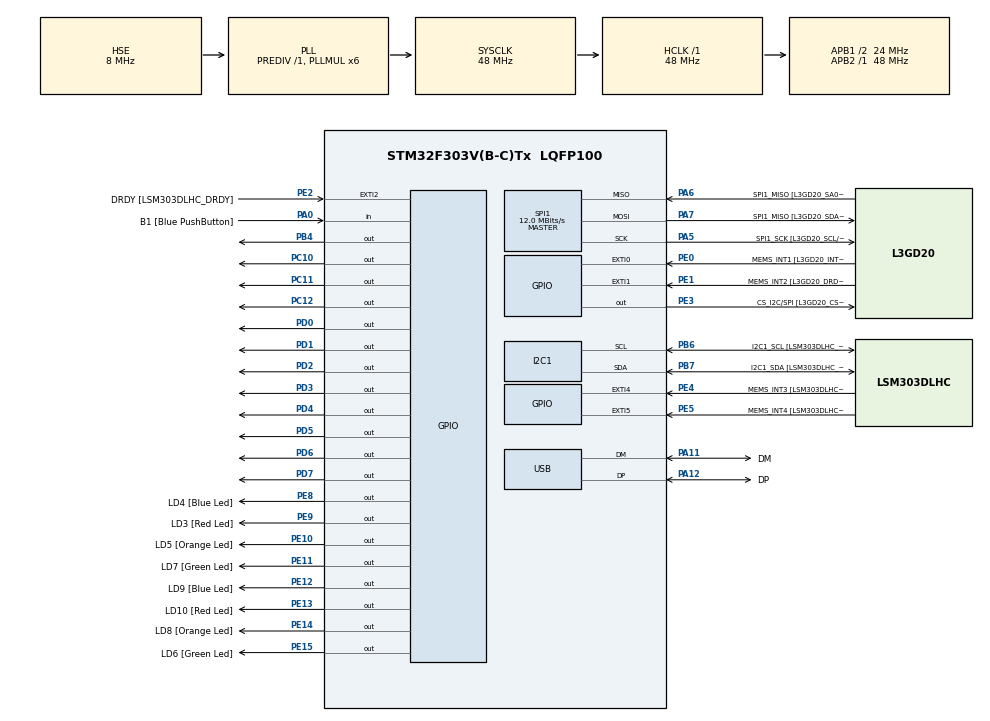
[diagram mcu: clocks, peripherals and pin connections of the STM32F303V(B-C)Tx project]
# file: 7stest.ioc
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I2C1.Timing=0x2000090E
I2C1.Timing-I2C=0x2000090E
Mcu.Family=STM32F3
Mcu.Name=STM32F303V(B-C)Tx
Mcu.Package=LQFP100
NVIC.PriorityGroup=NVIC_PRIORITYGROUP_0
PA0.GPIO_Label=B1 [Blue PushButton]
PA0.Signal=GPIO_Input
PA11.GPIO_Label=DM
PA11.Mode=Device
PA11.Signal=USB_DM
PA12.GPIO_Label=DP
PA12.Mode=Device
PA12.Signal=USB_DP
PA13.GPIO_Label=SWDIO
PA13.Mode=Serial_Wire
PA13.Signal=SYS_JTMS-SWDIO
PA14.GPIO_Label=SWCLK
PA14.Mode=Serial_Wire
PA14.Signal=SYS_JTCK-SWCLK
PA5.GPIO_Label=SPI1_SCK [L3GD20_SCL/SPC]
PA5.Mode=Full_Duplex_Master
PA5.Signal=SPI1_SCK
PA6.GPIO_Label=SPI1_MISO [L3GD20_SA0/SDO]
PA6.Mode=Full_Duplex_Master
PA6.Signal=SPI1_MISO
PA7.GPIO_Label=SPI1_MISO [L3GD20_SDA/SDI/SDO]
PA7.Mode=Full_Duplex_Master
PA7.Signal=SPI1_MOSI
PB3.GPIO_Label=SWO
PB3.Signal=SYS_JTDO-TRACESWO
PB4.Signal=GPIO_Output
PB6.GPIO_Label=I2C1_SCL [LSM303DLHC_SCL]
PB6.Mode=I2C
PB6.Signal=I2C1_SCL
PB7.GPIO_Label=I2C1_SDA [LSM303DLHC_SDA]
PB7.Mode=I2C
PB7.Signal=I2C1_SDA
PC10.Signal=GPIO_Output
PC11.Signal=GPIO_Output
PC12.Signal=GPIO_Output
PC14-OSC32_IN.GPIO_Label=OSC32_IN
PC14-OSC32_IN.Signal=RCC_OSC32_IN
PC15-OSC32_OUT.GPIO_Label=OSC32_OUT
PC15-OSC32_OUT.Signal=RCC_OSC32_OUT
PD0.Signal=GPIO_Output
PD1.Signal=GPIO_Output
PD2.Signal=GPIO_Output
PD3.Signal=GPIO_Output
PD4.Signal=GPIO_Output
PD5.Signal=GPIO_Output
PD6.Signal=GPIO_Output
PD7.Signal=GPIO_Output
PE0.GPIO_Label=MEMS_INT1 [L3GD20_INT1]
PE0.GPIO_ModeDefaultEXTI=GPIO_MODE_EVT_RISING
PE0.Signal=GPXTI0
PE1.GPIO_Label=MEMS_INT2 [L3GD20_DRDY/INT2]
PE1.GPIO_ModeDefaultEXTI=GPIO_MODE_EVT_RISING
PE1.Signal=GPXTI1
PE10.GPIO_Label=LD5 [Orange Led]
PE10.Signal=GPIO_Output
PE11.GPIO_Label=LD7 [Green Led]
PE11.Signal=GPIO_Output
PE12.GPIO_Label=LD9 [Blue Led]
PE12.Signal=GPIO_Output
PE13.GPIO_Label=LD10 [Red Led]
PE13.Signal=GPIO_Output
PE14.GPIO_Label=LD8 [Orange Led]
PE14.Signal=GPIO_Output
PE15.GPIO_Label=LD6 [Green Led]
PE15.Signal=GPIO_Output
PE2.GPIO_Label=DRDY [LSM303DLHC_DRDY]
PE2.GPIO_ModeDefaultEXTI=GPIO_MODE_EVT_RISING
PE2.Signal=GPXTI2
PE3.GPIO_Label=CS_I2C/SPI [L3GD20_CS_I2C/SPI]
PE3.Signal=GPIO_Output
PE4.GPIO_Label=MEMS_INT3 [LSM303DLHC_INT1]
PE4.GPIO_ModeDefaultEXTI=GPIO_MODE_EVT_RISING
PE4.Signal=GPXTI4
PE5.GPIO_Label=MEMS_INT4 [LSM303DLHC_INT2]
PE5.GPIO_ModeDefaultEXTI=GPIO_MODE_EVT_RISING
PE5.Signal=GPXTI5
PE8.GPIO_Label=LD4 [Blue Led]
PE8.Signal=GPIO_Output
PE9.GPIO_Label=LD3 [Red Led]
PE9.Signal=GPIO_Output
PF0-OSC_IN.GPIO_Label=OSC_IN
PF0-OSC_IN.Mode=HSE-External-Clock-Source
PF0-OSC_IN.Signal=RCC_OSC_IN
PF1-OSC_OUT.GPIO_Label=OSC_OUT
PF1-OSC_OUT.Signal=RCC_OSC_OUT
ProjectManager.HeapSize=0x200
ProjectManager.StackSize=0x400
ProjectManager.TargetToolchain=MDK-ARM V5
RCC.AHBFreq_Value=48000000
RCC.APB1CLKDivider=RCC_HCLK_DIV2
RCC.APB1Freq_Value=24000000
RCC.APB1TimFreq_Value=48000000
RCC.APB2Freq_Value=48000000
RCC.APB2TimFreq_Value=48000000
RCC.CortexFreq_Value=48000000
RCC.HCLKFreq_Value=48000000
RCC.HSE_VALUE=8000000
RCC.HSI_VALUE=8000000
RCC.LSE_VALUE=32768
RCC.PLLMUL=RCC_PLL_MUL6
RCC.SYSCLKFreq_VALUE=48000000
RCC.SYSCLKSourceVirtual=RCC_SYSCLKSOURCE_PLLCLK
RCC.USBFreq_Value=48000000
SPI1.BaudRatePrescaler=SPI_BAUDRATEPRESCALER_4
SPI1.BaudRatePrescaler-Full_Duplex_Master=SPI_BAUDRATEPRESCALER_2
SPI1.CalculateBaudRate=12.0 MBits/s
SPI1.CalculateBaudRate-Full_Duplex_Master=24.0 MBits/s
SPI1.Direction=SPI_DIRECTION_2LINES
SPI1.Mode=SPI_MODE_MASTER
SPI1.Mode-Full_Duplex_Master=SPI_MODE_MASTER
SPI1.VirtualType=VM_MASTER
board=STM32F3DISCOVERY

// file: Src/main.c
/**
  ******************************************************************************
  * @file           : main.c
  * @brief          : Main program body
  ******************************************************************************
  ** This notice applies to any and all portions of this file
  * that are not between comment pairs USER CODE BEGIN and
  * USER CODE END. Other portions of this file, whether
  * inserted by the user or by software development tools
  * are owned by their respective copyright owners.
  *
  * COPYRIGHT(c) 2020 STMicroelectronics
  *
  * Redistribution and use in source and binary forms, with or without modification,
  * are permitted provided that the following conditions are met:
  *   1. Redistributions of source code must retain the above copyright notice,
  *      this list of conditions and the following disclaimer.
  *   2. Redistributions in binary form must reproduce the above copyright notice,
  *      this list of conditions and the following disclaimer in the documentation
  *      and/or other materials provided with the distribution.
  *   3. Neither the name of STMicroelectronics nor the names of its contributors
  *      may be used to endorse or promote products derived from this software
  *      without specific prior written permission.
  *
  * THIS SOFTWARE IS PROVIDED BY THE COPYRIGHT HOLDERS AND CONTRIBUTORS "AS IS"
  * AND ANY EXPRESS OR IMPLIED WARRANTIES, INCLUDING, BUT NOT LIMITED TO, THE
  * IMPLIED WARRANTIES OF MERCHANTABILITY AND FITNESS FOR A PARTICULAR PURPOSE ARE
  * DISCLAIMED. IN NO EVENT SHALL THE COPYRIGHT HOLDER OR CONTRIBUTORS BE LIABLE
  * FOR ANY DIRECT, INDIRECT, INCIDENTAL, SPECIAL, EXEMPLARY, OR CONSEQUENTIAL
  * DAMAGES (INCLUDING, BUT NOT LIMITED TO, PROCUREMENT OF SUBSTITUTE GOODS OR
  * SERVICES; LOSS OF USE, DATA, OR PROFITS; OR BUSINESS INTERRUPTION) HOWEVER
  * CAUSED AND ON ANY THEORY OF LIABILITY, WHETHER IN CONTRACT, STRICT LIABILITY,
  * OR TORT (INCLUDING NEGLIGENCE OR OTHERWISE) ARISING IN ANY WAY OUT OF THE USE
  * OF THIS SOFTWARE, EVEN IF ADVISED OF THE POSSIBILITY OF SUCH DAMAGE.
  *
  ******************************************************************************
  */
#include "main.h"
#include "stm32f3xx_hal.h"

I2C_HandleTypeDef hi2c1;

SPI_HandleTypeDef hspi1;

PCD_HandleTypeDef hpcd_USB_FS;

/* USER CODE BEGIN PV */
/* Private variables ---------------------------------------------------------*/

/* USER CODE END PV */

void SystemClock_Config(void);
static void MX_GPIO_Init(void);
static void MX_I2C1_Init(void);
static void MX_SPI1_Init(void);
static void MX_USB_PCD_Init(void);

/* USER CODE BEGIN PFP */
/* Private function prototypes -----------------------------------------------*/

/* USER CODE END PFP */

int main(void)
{

  /* MCU Configuration----------------------------------------------------------*/

  /* Reset of all peripherals, Initializes the Flash interface and the Systick. */
  HAL_Init();

  /* Configure the system clock */
  SystemClock_Config();

  /* Initialize all configured peripherals */
  MX_GPIO_Init();
  MX_I2C1_Init();
  MX_SPI1_Init();
  MX_USB_PCD_Init();

  /* Infinite loop */
  while (1)
  {

  /* USER CODE BEGIN 3 */
		HAL_GPIO_WritePin(GPIOC,GPIO_PIN_11,1);
		HAL_GPIO_WritePin(GPIOC,GPIO_PIN_12,1);
		HAL_GPIO_WritePin(GPIOD,GPIO_PIN_0,1);
		HAL_GPIO_WritePin(GPIOD,GPIO_PIN_1|GPIO_PIN_2|GPIO_PIN_3|GPIO_PIN_4|GPIO_PIN_5|GPIO_PIN_7,0);
		HAL_GPIO_WritePin(GPIOB,GPIO_PIN_4,0);

    HAL_GPIO_WritePin(GPIOC,GPIO_PIN_10,0);

		HAL_GPIO_WritePin(GPIOD,GPIO_PIN_1|GPIO_PIN_3|GPIO_PIN_4|GPIO_PIN_7,1);
		HAL_GPIO_WritePin(GPIOB,GPIO_PIN_4,1);

		HAL_Delay(3);

		HAL_GPIO_WritePin(GPIOC,GPIO_PIN_12,1);
		HAL_GPIO_WritePin(GPIOD,GPIO_PIN_0,1);
		HAL_GPIO_WritePin(GPIOC,GPIO_PIN_10,1);
		HAL_GPIO_WritePin(GPIOD,GPIO_PIN_1|GPIO_PIN_2|GPIO_PIN_3|GPIO_PIN_4|GPIO_PIN_5|GPIO_PIN_7,0);
		HAL_GPIO_WritePin(GPIOB,GPIO_PIN_4,0);

		HAL_GPIO_WritePin(GPIOC,GPIO_PIN_11,0);

		HAL_GPIO_WritePin(GPIOD,GPIO_PIN_1|GPIO_PIN_3|GPIO_PIN_4|GPIO_PIN_7,1);
		HAL_GPIO_WritePin(GPIOB,GPIO_PIN_4,1);

		HAL_Delay(3);

		HAL_GPIO_WritePin(GPIOD,GPIO_PIN_0,1);
		HAL_GPIO_WritePin(GPIOC,GPIO_PIN_10,1);
		HAL_GPIO_WritePin(GPIOC,GPIO_PIN_11,1);
		HAL_GPIO_WritePin(GPIOD,GPIO_PIN_1|GPIO_PIN_2|GPIO_PIN_3|GPIO_PIN_4|GPIO_PIN_5|GPIO_PIN_7,0);
		HAL_GPIO_WritePin(GPIOB,GPIO_PIN_4,0);

		HAL_GPIO_WritePin(GPIOC,GPIO_PIN_12,0);

		HAL_GPIO_WritePin(GPIOD,GPIO_PIN_2|GPIO_PIN_3|GPIO_PIN_5,1);
		HAL_GPIO_WritePin(GPIOD,GPIO_PIN_4,1);

		HAL_Delay(3);

		HAL_GPIO_WritePin(GPIOC,GPIO_PIN_11,1);
		HAL_GPIO_WritePin(GPIOC,GPIO_PIN_10,1);
		HAL_GPIO_WritePin(GPIOC,GPIO_PIN_12,1);
		HAL_GPIO_WritePin(GPIOD,GPIO_PIN_1|GPIO_PIN_2|GPIO_PIN_3|GPIO_PIN_4|GPIO_PIN_5|GPIO_PIN_7,0);
		HAL_GPIO_WritePin(GPIOB,GPIO_PIN_4,0);

		HAL_GPIO_WritePin(GPIOD,GPIO_PIN_0,0);

		HAL_GPIO_WritePin(GPIOD,GPIO_PIN_2,1);
		HAL_GPIO_WritePin(GPIOB,GPIO_PIN_4,1);

		HAL_Delay(3);
  }
  /* USER CODE END 3 */

}

void SystemClock_Config(void)
{

  RCC_OscInitTypeDef RCC_OscInitStruct;
  RCC_ClkInitTypeDef RCC_ClkInitStruct;
  RCC_PeriphCLKInitTypeDef PeriphClkInit;

    /**Initializes the CPU, AHB and APB busses clocks
    */
  RCC_OscInitStruct.OscillatorType = RCC_OSCILLATORTYPE_HSI|RCC_OSCILLATORTYPE_HSE;
  RCC_OscInitStruct.HSEState = RCC_HSE_BYPASS;
  RCC_OscInitStruct.HSEPredivValue = RCC_HSE_PREDIV_DIV1;
  RCC_OscInitStruct.HSIState = RCC_HSI_ON;
  RCC_OscInitStruct.HSICalibrationValue = 16;
  RCC_OscInitStruct.PLL.PLLState = RCC_PLL_ON;
  RCC_OscInitStruct.PLL.PLLSource = RCC_PLLSOURCE_HSE;
  RCC_OscInitStruct.PLL.PLLMUL = RCC_PLL_MUL6;
  if (HAL_RCC_OscConfig(&RCC_OscInitStruct) != HAL_OK)
  {
    _Error_Handler(__FILE__, __LINE__);
  }

    /**Initializes the CPU, AHB and APB busses clocks
    */
  RCC_ClkInitStruct.ClockType = RCC_CLOCKTYPE_HCLK|RCC_CLOCKTYPE_SYSCLK
                              |RCC_CLOCKTYPE_PCLK1|RCC_CLOCKTYPE_PCLK2;
  RCC_ClkInitStruct.SYSCLKSource = RCC_SYSCLKSOURCE_PLLCLK;
  RCC_ClkInitStruct.AHBCLKDivider = RCC_SYSCLK_DIV1;
  RCC_ClkInitStruct.APB1CLKDivider = RCC_HCLK_DIV2;
  RCC_ClkInitStruct.APB2CLKDivider = RCC_HCLK_DIV1;

  if (HAL_RCC_ClockConfig(&RCC_ClkInitStruct, FLASH_LATENCY_1) != HAL_OK)
  {
    _Error_Handler(__FILE__, __LINE__);
  }

  PeriphClkInit.PeriphClockSelection = RCC_PERIPHCLK_USB|RCC_PERIPHCLK_I2C1;
  PeriphClkInit.I2c1ClockSelection = RCC_I2C1CLKSOURCE_HSI;
  PeriphClkInit.USBClockSelection = RCC_USBCLKSOURCE_PLL;
  if (HAL_RCCEx_PeriphCLKConfig(&PeriphClkInit) != HAL_OK)
  {
    _Error_Handler(__FILE__, __LINE__);
  }

    /**Configure the Systick interrupt time
    */
  HAL_SYSTICK_Config(HAL_RCC_GetHCLKFreq()/1000);

    /**Configure the Systick
    */
  HAL_SYSTICK_CLKSourceConfig(SYSTICK_CLKSOURCE_HCLK);

  /* SysTick_IRQn interrupt configuration */
  HAL_NVIC_SetPriority(SysTick_IRQn, 0, 0);
}

/* I2C1 init function */
static void MX_I2C1_Init(void)
{

  hi2c1.Instance = I2C1;
  hi2c1.Init.Timing = 0x2000090E;
  hi2c1.Init.OwnAddress1 = 0;
  hi2c1.Init.AddressingMode = I2C_ADDRESSINGMODE_7BIT;
  hi2c1.Init.DualAddressMode = I2C_DUALADDRESS_DISABLE;
  hi2c1.Init.OwnAddress2 = 0;
  hi2c1.Init.OwnAddress2Masks = I2C_OA2_NOMASK;
  hi2c1.Init.GeneralCallMode = I2C_GENERALCALL_DISABLE;
  hi2c1.Init.NoStretchMode = I2C_NOSTRETCH_DISABLE;
  if (HAL_I2C_Init(&hi2c1) != HAL_OK)
  {
    _Error_Handler(__FILE__, __LINE__);
  }

    /**Configure Analogue filter
    */
  if (HAL_I2CEx_ConfigAnalogFilter(&hi2c1, I2C_ANALOGFILTER_ENABLE) != HAL_OK)
  {
    _Error_Handler(__FILE__, __LINE__);
  }

    /**Configure Digital filter
    */
  if (HAL_I2CEx_ConfigDigitalFilter(&hi2c1, 0) != HAL_OK)
  {
    _Error_Handler(__FILE__, __LINE__);
  }

}

/* SPI1 init function */
static void MX_SPI1_Init(void)
{

  /* SPI1 parameter configuration*/
  hspi1.Instance = SPI1;
  hspi1.Init.Mode = SPI_MODE_MASTER;
  hspi1.Init.Direction = SPI_DIRECTION_2LINES;
  hspi1.Init.DataSize = SPI_DATASIZE_4BIT;
  hspi1.Init.CLKPolarity = SPI_POLARITY_LOW;
  hspi1.Init.CLKPhase = SPI_PHASE_1EDGE;
  hspi1.Init.NSS = SPI_NSS_SOFT;
  hspi1.Init.BaudRatePrescaler = SPI_BAUDRATEPRESCALER_4;
  hspi1.Init.FirstBit = SPI_FIRSTBIT_MSB;
  hspi1.Init.TIMode = SPI_TIMODE_DISABLE;
  hspi1.Init.CRCCalculation = SPI_CRCCALCULATION_DISABLE;
  hspi1.Init.CRCPolynomial = 7;
  hspi1.Init.CRCLength = SPI_CRC_LENGTH_DATASIZE;
  hspi1.Init.NSSPMode = SPI_NSS_PULSE_ENABLE;
  if (HAL_SPI_Init(&hspi1) != HAL_OK)
  {
    _Error_Handler(__FILE__, __LINE__);
  }

}

/* USB init function */
static void MX_USB_PCD_Init(void)
{

  hpcd_USB_FS.Instance = USB;
  hpcd_USB_FS.Init.dev_endpoints = 8;
  hpcd_USB_FS.Init.speed = PCD_SPEED_FULL;
  hpcd_USB_FS.Init.ep0_mps = DEP0CTL_MPS_64;
  hpcd_USB_FS.Init.phy_itface = PCD_PHY_EMBEDDED;
  hpcd_USB_FS.Init.low_power_enable = DISABLE;
  hpcd_USB_FS.Init.battery_charging_enable = DISABLE;
  if (HAL_PCD_Init(&hpcd_USB_FS) != HAL_OK)
  {
    _Error_Handler(__FILE__, __LINE__);
  }

}

/** Configure pins as
        * Analog
        * Input
        * Output
        * EVENT_OUT
        * EXTI
        * Free pins are configured automatically as Analog (this feature is enabled through
        * the Code Generation settings)
*/
static void MX_GPIO_Init(void)
{

  GPIO_InitTypeDef GPIO_InitStruct;

  /* GPIO Ports Clock Enable */
  __HAL_RCC_GPIOE_CLK_ENABLE();
  __HAL_RCC_GPIOC_CLK_ENABLE();
  __HAL_RCC_GPIOF_CLK_ENABLE();
  __HAL_RCC_GPIOA_CLK_ENABLE();
  __HAL_RCC_GPIOB_CLK_ENABLE();
  __HAL_RCC_GPIOD_CLK_ENABLE();

  /*Configure GPIO pin Output Level */
  HAL_GPIO_WritePin(GPIOE, CS_I2C_SPI_Pin|LD4_Pin|LD3_Pin|LD5_Pin
                          |LD7_Pin|LD9_Pin|LD10_Pin|LD8_Pin
                          |LD6_Pin, GPIO_PIN_RESET);

  /*Configure GPIO pin Output Level */
  HAL_GPIO_WritePin(GPIOC, GPIO_PIN_10|GPIO_PIN_11|GPIO_PIN_12, GPIO_PIN_RESET);

  /*Configure GPIO pin Output Level */
  HAL_GPIO_WritePin(GPIOD, GPIO_PIN_0|GPIO_PIN_1|GPIO_PIN_2|GPIO_PIN_3
                          |GPIO_PIN_4|GPIO_PIN_5|GPIO_PIN_6|GPIO_PIN_7, GPIO_PIN_RESET);

  /*Configure GPIO pin Output Level */
  HAL_GPIO_WritePin(GPIOB, GPIO_PIN_4, GPIO_PIN_RESET);

  /*Configure GPIO pins : DRDY_Pin MEMS_INT3_Pin MEMS_INT4_Pin MEMS_INT1_Pin
                           MEMS_INT2_Pin */
  GPIO_InitStruct.Pin = DRDY_Pin|MEMS_INT3_Pin|MEMS_INT4_Pin|MEMS_INT1_Pin
                          |MEMS_INT2_Pin;
  GPIO_InitStruct.Mode = GPIO_MODE_EVT_RISING;
  GPIO_InitStruct.Pull = GPIO_NOPULL;
  HAL_GPIO_Init(GPIOE, &GPIO_InitStruct);

  /*Configure GPIO pins : CS_I2C_SPI_Pin LD4_Pin LD3_Pin LD5_Pin
                           LD7_Pin LD9_Pin LD10_Pin LD8_Pin
                           LD6_Pin */
  GPIO_InitStruct.Pin = CS_I2C_SPI_Pin|LD4_Pin|LD3_Pin|LD5_Pin
                          |LD7_Pin|LD9_Pin|LD10_Pin|LD8_Pin
                          |LD6_Pin;
  GPIO_InitStruct.Mode = GPIO_MODE_OUTPUT_PP;
  GPIO_InitStruct.Pull = GPIO_NOPULL;
  GPIO_InitStruct.Speed = GPIO_SPEED_FREQ_LOW;
  HAL_GPIO_Init(GPIOE, &GPIO_InitStruct);

  /*Configure GPIO pins : PE6 PE7 */
  GPIO_InitStruct.Pin = GPIO_PIN_6|GPIO_PIN_7;
  GPIO_InitStruct.Mode = GPIO_MODE_ANALOG;
  GPIO_InitStruct.Pull = GPIO_NOPULL;
  HAL_GPIO_Init(GPIOE, &GPIO_InitStruct);

  /*Configure GPIO pins : PC13 PC0 PC1 PC2
                           PC3 PC4 PC5 PC6
                           PC7 PC8 PC9 */
  GPIO_InitStruct.Pin = GPIO_PIN_13|GPIO_PIN_0|GPIO_PIN_1|GPIO_PIN_2
                          |GPIO_PIN_3|GPIO_PIN_4|GPIO_PIN_5|GPIO_PIN_6
                          |GPIO_PIN_7|GPIO_PIN_8|GPIO_PIN_9;
  GPIO_InitStruct.Mode = GPIO_MODE_ANALOG;
  GPIO_InitStruct.Pull = GPIO_NOPULL;
  HAL_GPIO_Init(GPIOC, &GPIO_InitStruct);

  /*Configure GPIO pins : PF9 PF10 PF2 PF4
                           PF6 */
  GPIO_InitStruct.Pin = GPIO_PIN_9|GPIO_PIN_10|GPIO_PIN_2|GPIO_PIN_4
                          |GPIO_PIN_6;
  GPIO_InitStruct.Mode = GPIO_MODE_ANALOG;
  GPIO_InitStruct.Pull = GPIO_NOPULL;
  HAL_GPIO_Init(GPIOF, &GPIO_InitStruct);

  /*Configure GPIO pin : B1_Pin */
  GPIO_InitStruct.Pin = B1_Pin;
  GPIO_InitStruct.Mode = GPIO_MODE_INPUT;
  GPIO_InitStruct.Pull = GPIO_NOPULL;
  HAL_GPIO_Init(B1_GPIO_Port, &GPIO_InitStruct);

  /*Configure GPIO pins : PA1 PA2 PA3 PA4
                           PA8 PA9 PA10 PA15 */
  GPIO_InitStruct.Pin = GPIO_PIN_1|GPIO_PIN_2|GPIO_PIN_3|GPIO_PIN_4
                          |GPIO_PIN_8|GPIO_PIN_9|GPIO_PIN_10|GPIO_PIN_15;
  GPIO_InitStruct.Mode = GPIO_MODE_ANALOG;
  GPIO_InitStruct.Pull = GPIO_NOPULL;
  HAL_GPIO_Init(GPIOA, &GPIO_InitStruct);

  /*Configure GPIO pins : PB0 PB1 PB2 PB10
                           PB11 PB12 PB13 PB14
                           PB15 PB5 PB8 PB9 */
  GPIO_InitStruct.Pin = GPIO_PIN_0|GPIO_PIN_1|GPIO_PIN_2|GPIO_PIN_10
                          |GPIO_PIN_11|GPIO_PIN_12|GPIO_PIN_13|GPIO_PIN_14
                          |GPIO_PIN_15|GPIO_PIN_5|GPIO_PIN_8|GPIO_PIN_9;
  GPIO_InitStruct.Mode = GPIO_MODE_ANALOG;
  GPIO_InitStruct.Pull = GPIO_NOPULL;
  HAL_GPIO_Init(GPIOB, &GPIO_InitStruct);

  /*Configure GPIO pins : PD8 PD9 PD10 PD11
                           PD12 PD13 PD14 PD15 */
  GPIO_InitStruct.Pin = GPIO_PIN_8|GPIO_PIN_9|GPIO_PIN_10|GPIO_PIN_11
                          |GPIO_PIN_12|GPIO_PIN_13|GPIO_PIN_14|GPIO_PIN_15;
  GPIO_InitStruct.Mode = GPIO_MODE_ANALOG;
  GPIO_InitStruct.Pull = GPIO_NOPULL;
  HAL_GPIO_Init(GPIOD, &GPIO_InitStruct);

  /*Configure GPIO pins : PC10 PC11 PC12 */
  GPIO_InitStruct.Pin = GPIO_PIN_10|GPIO_PIN_11|GPIO_PIN_12;
  GPIO_InitStruct.Mode = GPIO_MODE_OUTPUT_PP;
  GPIO_InitStruct.Pull = GPIO_NOPULL;
  GPIO_InitStruct.Speed = GPIO_SPEED_FREQ_LOW;
  HAL_GPIO_Init(GPIOC, &GPIO_InitStruct);

  /*Configure GPIO pins : PD0 PD1 PD2 PD3
                           PD4 PD5 PD6 PD7 */
  GPIO_InitStruct.Pin = GPIO_PIN_0|GPIO_PIN_1|GPIO_PIN_2|GPIO_PIN_3
                          |GPIO_PIN_4|GPIO_PIN_5|GPIO_PIN_6|GPIO_PIN_7;
  GPIO_InitStruct.Mode = GPIO_MODE_OUTPUT_PP;
  GPIO_InitStruct.Pull = GPIO_NOPULL;
  GPIO_InitStruct.Speed = GPIO_SPEED_FREQ_LOW;
  HAL_GPIO_Init(GPIOD, &GPIO_InitStruct);

  /*Configure GPIO pin : PB4 */
  GPIO_InitStruct.Pin = GPIO_PIN_4;
  GPIO_InitStruct.Mode = GPIO_MODE_OUTPUT_PP;
  GPIO_InitStruct.Pull = GPIO_NOPULL;
  GPIO_InitStruct.Speed = GPIO_SPEED_FREQ_LOW;
  HAL_GPIO_Init(GPIOB, &GPIO_InitStruct);

}

void _Error_Handler(char *file, int line)
{
  while(1)
  {
  }
}

/************************ (C) COPYRIGHT STMicroelectronics *****END OF FILE****/
